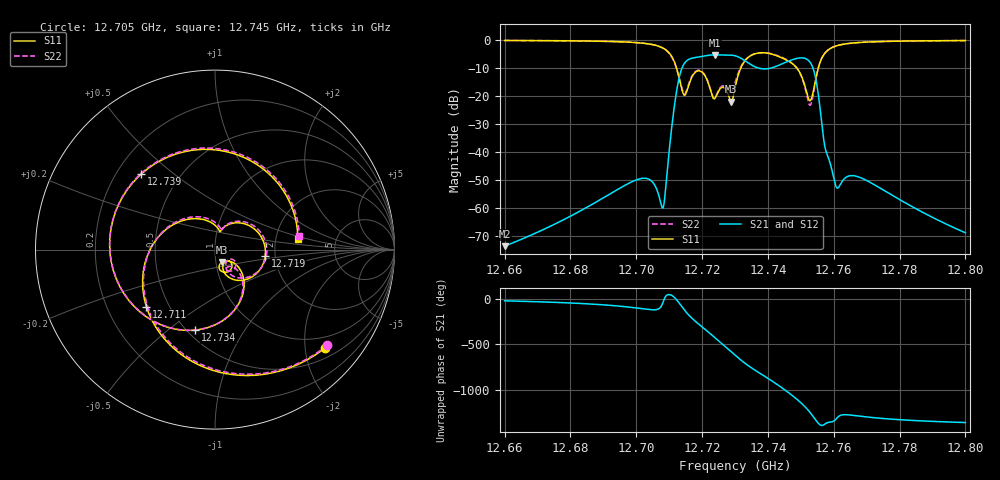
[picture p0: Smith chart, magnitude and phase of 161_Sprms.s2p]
! TOUCHSTONE file generated by CST MICROWAVE STUDIO
! Date and time: Wed Jul 31 18:59:17 2024
! Project name: WaveGuide_BPF-Ver4.1_U-shape_Ku_T3_C4_CWA_2.cst
! Parameters = {cavity_h=16; cavity_l0=10; cavity_l1=15.19; cavity_l2=16.8274; cavity_l3=17.1; cavity_l4=17.2456; cavity_l5=17.1289; cavity_l6=17.5828; cavity_r=2.5; cavity_screw_l=0.5; cavity_screw_r=1.5; cavity_w=8; iris_h00=0; iris_h01=8.8168; iris_h112=0; iris_h12=5.6062; iris_h211=3.6525; iris_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
! Header version: 2018
! Port assignment regex: !\s*Touchstone port\s*([0-9]+)\s*=\s*(CST MWS port|CST DS port)\s*([0-9]+|Zmin|Zmax)\s*\(\"(.*)\"\)(\s*mode\s*([0-9]+))?.*
! Touchstone port assignment:
! Touchstone port 1 = CST MWS port 1 ("")
! Touchstone port 2 = CST MWS port 2 ("")
# GHz S RI R 50
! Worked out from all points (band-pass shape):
!   5001 points, 12.66 GHz to 12.8 GHz, reference 50 ohm
!   highest |S21| = -5.30 dB at 12.724 GHz (marker M1); lowest = -73.7 dB at 12.66 GHz (marker M2)
!   |S21| within 3 dB of the highest: 12.71465 GHz to 12.73414 GHz (19.49 MHz wide, 0.153 % of centre); 12.74471 GHz to 12.75301 GHz (8.299 MHz wide, 0.0651 % of centre)
!   lowest |S11| = -22.0 dB at 12.729 GHz (marker M3), VSWR 1.17, Z = 53.6 - j7.4 ohm
!   |S11| at or under -10 dB: 12.71224 GHz to 12.73177 GHz (19.53 MHz wide, 0.153 % of centre); 12.74878 GHz to 12.75531 GHz (6.531 MHz wide, 0.0512 % of centre)
!   |S22| runs from -23.3 to -0.2 dB; largest |S21 - S12| = 1e-09
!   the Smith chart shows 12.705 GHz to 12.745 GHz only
!   S11 on the Smith chart (normalised r, x): 12.705 GHz: 0.72, -2.44; 12.711 GHz: 0.37, -0.32; 12.719 GHz: 1.77, -0.13; 12.734 GHz: 0.55, -0.62; 12.739 GHz: 0.30, +0.39; 12.745 GHz: 2.67, +0.39
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12.66  0.2889 0.9387  0.000194 -7.38e-05  0.000194 -7.38e-05  0.2872 0.9394
12.68335  0.6856 0.676  0.000578 -0.000699  0.000578 -0.000699  0.6801 0.6822
12.70522  0.6137 -0.5473  -0.00136 -0.00241  -0.00136 -0.00241  0.6239 -0.5341
12.70668  0.4212 -0.6566  -0.000643 -0.00169  -0.000643 -0.00169  0.4313 -0.6469
12.70838  0.102 -0.697  0.00112 -0.000243  0.00112 -0.000243  0.1079 -0.6901
12.71088  -0.3819 -0.3183  0.0248 0.0185  0.0248 0.0185  -0.38 -0.3007
12.71393  0.00935 0.1268  0.000506 -0.3194  0.000506 -0.3194  0.0216 0.1316
12.71625  0.0985 0.1469  -0.4545 0.0683  -0.4545 0.0683  0.1022 0.1545
12.71897  0.2799 -0.0343  0.0573 0.4938  0.0573 0.4938  0.2886 -0.0127
12.72384  0.0613 -0.0657  0.2386 -0.4883  0.2386 -0.4883  0.0735 -0.0577
12.72888  0.0401 -0.0685  -0.4064 0.3512  -0.4064 0.3512  0.0733 -0.0952
12.73  0.1127 -0.0802  -0.1237 0.5094  -0.1237 0.5094  0.1257 -0.1166
12.73356  -0.1113 -0.4487  0.4053 -0.00582  0.4053 -0.00582  -0.1324 -0.4491
12.73935  -0.4126 0.4192  -0.2248 -0.2061  -0.2248 -0.2061  -0.4009 0.4342
12.74476  0.4611 0.0575  -0.00502 0.3858  -0.00502 0.3858  0.4687 0.0764
12.74809  0.0457 -0.3476  0.4577 -0.00669  0.4577 -0.00669  0.0772 -0.3441
12.75061  -0.1674 -0.1036  0.0784 -0.4726  0.0784 -0.4726  -0.1538 -0.1122
12.75335  -0.0939 0.0132  -0.3444 0.0755  -0.3444 0.0755  -0.0803 0.00784
12.7559  0.2934 0.2823  0.0314 0.047  0.0314 0.047  0.3018 0.2785
12.7608  0.3101 -0.7218  -0.00131 0.00195  -0.00131 0.00195  0.3213 -0.7188
12.77668  -0.8495 -0.419  -0.000962 0.00157  -0.000962 0.00157  -0.8449 -0.4268
12.8  -0.9584 0.1967  5e-05 0.000356  5e-05 0.000356  -0.9585 0.1954
